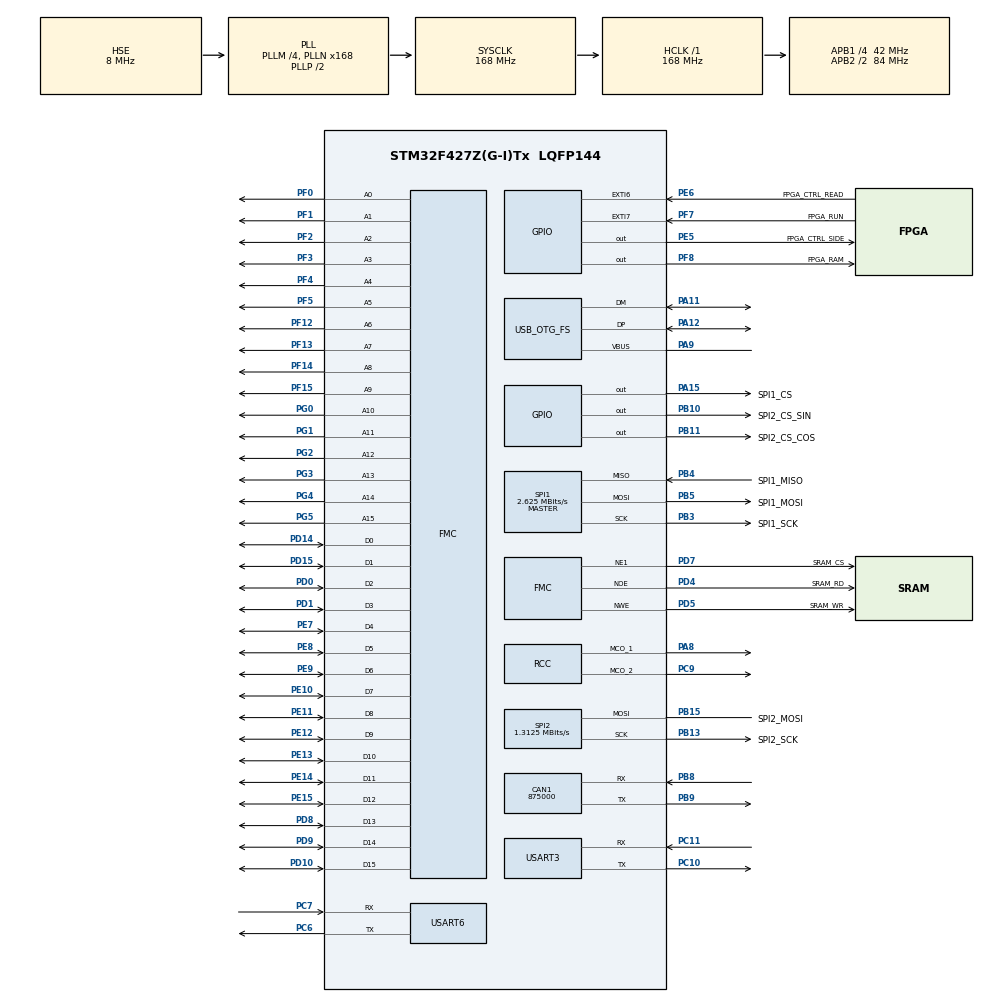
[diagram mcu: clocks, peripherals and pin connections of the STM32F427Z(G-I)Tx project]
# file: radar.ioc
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CAN1.CalculateBaudRate=875000
CAN1.CalculateTimeBit=1142
CAN1.CalculateTimeQuantum=380.95238095238096
FMC.AddressSetupTime1=2
FMC.BusTurnAroundDuration1=0
FMC.DataSetupTime1=8
FMC.ExtendedMode1=FMC_EXTENDED_MODE_DISABLE
FMC.WriteOperation1=FMC_WRITE_OPERATION_ENABLE
FREERTOS.Tasks01=defaultTask,24,128,StartDefaultTask,Default,NULL,Dynamic,NULL,NULL
Mcu.Family=STM32F4
Mcu.Name=STM32F427Z(G-I)Tx
Mcu.Package=LQFP144
NVIC.PriorityGroup=NVIC_PRIORITYGROUP_4
NVIC.TIM3_IRQn=true\:5\:0\:false\:false\:true\:true\:true\:true\:true
NVIC.TIM8_TRG_COM_TIM14_IRQn=true\:15\:0\:false\:false\:true\:false\:false\:true\:true
NVIC.TimeBase=TIM8_TRG_COM_TIM14_IRQn
NVIC.TimeBaseIP=TIM14
PA11.Mode=Device_Only
PA11.Signal=USB_OTG_FS_DM
PA12.Mode=Device_Only
PA12.Signal=USB_OTG_FS_DP
PA13.Mode=Serial_Wire
PA13.Signal=SYS_JTMS-SWDIO
PA14.Mode=Serial_Wire
PA14.Signal=SYS_JTCK-SWCLK
PA15.GPIO_Label=SPI1_CS
PA15.GPIO_Speed=GPIO_SPEED_FREQ_HIGH
PA15.Signal=GPIO_Output
PA8.Mode=Clock-out-1
PA8.Signal=RCC_MCO_1
PA9.Mode=Activate_VBUS
PA9.Signal=USB_OTG_FS_VBUS
PB10.GPIO_Label=SPI2_CS_SIN
PB10.GPIO_Speed=GPIO_SPEED_FREQ_HIGH
PB10.Signal=GPIO_Output
PB11.GPIO_Label=SPI2_CS_COS
PB11.GPIO_ModeDefaultOutputPP=GPIO_MODE_OUTPUT_PP
PB11.GPIO_PuPd=GPIO_PULLUP
PB11.GPIO_Speed=GPIO_SPEED_FREQ_HIGH
PB11.Signal=GPIO_Output
PB13.GPIO_Label=SPI2_SCK
PB13.Mode=Simplex_Bidirectional_Master
PB13.Signal=SPI2_SCK
PB15.GPIO_Label=SPI2_MOSI
PB15.Mode=Simplex_Bidirectional_Master
PB15.Signal=SPI2_MOSI
PB3.GPIO_Label=SPI1_SCK
PB3.Mode=Full_Duplex_Master
PB3.Signal=SPI1_SCK
PB4.GPIO_Label=SPI1_MISO
PB4.Mode=Full_Duplex_Master
PB4.Signal=SPI1_MISO
PB5.GPIO_Label=SPI1_MOSI
PB5.Mode=Full_Duplex_Master
PB5.Signal=SPI1_MOSI
PB8.Mode=CAN_Activate
PB8.Signal=CAN1_RX
PB9.Mode=CAN_Activate
PB9.Signal=CAN1_TX
PC10.Mode=Asynchronous
PC10.Signal=USART3_TX
PC11.Mode=Asynchronous
PC11.Signal=USART3_RX
PC6.Mode=Asynchronous
PC6.Signal=USART6_TX
PC7.Mode=Asynchronous
PC7.Signal=USART6_RX
PC9.Mode=Clock-out-2
PC9.Signal=RCC_MCO_2
PD0.Signal=FMC_D2_DA2
PD1.Signal=FMC_D3_DA3
PD10.Signal=FMC_D15_DA15
PD14.Signal=FMC_D0_DA0
PD15.Signal=FMC_D1_DA1
PD4.GPIO_Label=SRAM_RD
PD4.Signal=FMC_NOE
PD5.GPIO_Label=SRAM_WR
PD5.Signal=FMC_NWE
PD7.GPIO_Label=SRAM_CS
PD7.Mode=NorPsramChipSelect1_1
PD7.Signal=FMC_NE1
PD8.Signal=FMC_D13_DA13
PD9.Signal=FMC_D14_DA14
PE10.Signal=FMC_D7_DA7
PE11.Signal=FMC_D8_DA8
PE12.Signal=FMC_D9_DA9
PE13.Signal=FMC_D10_DA10
PE14.Signal=FMC_D11_DA11
PE15.Signal=FMC_D12_DA12
PE5.GPIO_Label=FPGA_CTRL_SIDE
PE5.GPIO_Speed=GPIO_SPEED_FREQ_HIGH
PE5.Signal=GPIO_Output
PE6.GPIO_Label=FPGA_CTRL_READ
PE6.Signal=GPXTI6
PE7.Signal=FMC_D4_DA4
PE8.Signal=FMC_D5_DA5
PE9.Signal=FMC_D6_DA6
PF0.Signal=FMC_A0
PF1.Signal=FMC_A1
PF12.Signal=FMC_A6
PF13.Signal=FMC_A7
PF14.Signal=FMC_A8
PF15.Signal=FMC_A9
PF2.Signal=FMC_A2
PF3.Signal=FMC_A3
PF4.Signal=FMC_A4
PF5.Signal=FMC_A5
PF7.GPIO_Label=FPGA_RUN
PF7.Signal=GPXTI7
PF8.GPIO_Label=FPGA_RAM
PF8.GPIO_Speed=GPIO_SPEED_FREQ_HIGH
PF8.Signal=GPIO_Output
PG0.Signal=FMC_A10
PG1.Signal=FMC_A11
PG2.Signal=FMC_A12
PG3.Signal=FMC_A13
PG4.Signal=FMC_A14_BA0
PG5.Signal=FMC_A15_BA1
PH0/OSC_IN.Mode=HSE-External-Oscillator
PH0/OSC_IN.Signal=RCC_OSC_IN
PH1/OSC_OUT.Mode=HSE-External-Oscillator
PH1/OSC_OUT.Signal=RCC_OSC_OUT
ProjectManager.HeapSize=0x200
ProjectManager.StackSize=0x400
ProjectManager.TargetToolchain=MDK-ARM V5.32
RCC.48MHZClocksFreq_Value=48000000
RCC.AHBFreq_Value=168000000
RCC.APB1CLKDivider=RCC_HCLK_DIV4
RCC.APB1Freq_Value=42000000
RCC.APB1TimFreq_Value=84000000
RCC.APB2CLKDivider=RCC_HCLK_DIV2
RCC.APB2Freq_Value=84000000
RCC.APB2TimFreq_Value=168000000
RCC.CortexFreq_Value=168000000
RCC.HCLKFreq_Value=168000000
RCC.HSE_VALUE=8000000
RCC.HSI_VALUE=16000000
RCC.LSE_VALUE=32768
RCC.PLLM=4
RCC.PLLN=168
RCC.PLLQ=7
RCC.RCC_MCODiv2=RCC_MCODIV_2
RCC.SYSCLKFreq_VALUE=168000000
RCC.SYSCLKSource=RCC_SYSCLKSOURCE_PLLCLK
RCC.VCOOutputFreq_Value=336000000
SH.FMC_A0.0=FMC_A0,16b-a1
SH.FMC_A1.0=FMC_A1,16b-a1
SH.FMC_A10.0=FMC_A10,16b-a1
SH.FMC_A11.0=FMC_A11,16b-a1
SH.FMC_A12.0=FMC_A12,16b-a1
SH.FMC_A13.0=FMC_A13,16b-a1
SH.FMC_A14_BA0.0=FMC_A14,16b-a1
SH.FMC_A15_BA1.0=FMC_A15,16b-a1
SH.FMC_A2.0=FMC_A2,16b-a1
SH.FMC_A3.0=FMC_A3,16b-a1
SH.FMC_A4.0=FMC_A4,16b-a1
SH.FMC_A5.0=FMC_A5,16b-a1
SH.FMC_A6.0=FMC_A6,16b-a1
SH.FMC_A7.0=FMC_A7,16b-a1
SH.FMC_A8.0=FMC_A8,16b-a1
SH.FMC_A9.0=FMC_A9,16b-a1
SH.FMC_D0_DA0.0=FMC_D0,16b-d1
SH.FMC_D10_DA10.0=FMC_D10,16b-d1
SH.FMC_D11_DA11.0=FMC_D11,16b-d1
SH.FMC_D12_DA12.0=FMC_D12,16b-d1
SH.FMC_D13_DA13.0=FMC_D13,16b-d1
SH.FMC_D14_DA14.0=FMC_D14,16b-d1
SH.FMC_D15_DA15.0=FMC_D15,16b-d1
SH.FMC_D1_DA1.0=FMC_D1,16b-d1
SH.FMC_D2_DA2.0=FMC_D2,16b-d1
SH.FMC_D3_DA3.0=FMC_D3,16b-d1
SH.FMC_D4_DA4.0=FMC_D4,16b-d1
SH.FMC_D5_DA5.0=FMC_D5,16b-d1
SH.FMC_D6_DA6.0=FMC_D6,16b-d1
SH.FMC_D7_DA7.0=FMC_D7,16b-d1
SH.FMC_D8_DA8.0=FMC_D8,16b-d1
SH.FMC_D9_DA9.0=FMC_D9,16b-d1
SH.FMC_NOE.0=FMC_NOE,Sram1
SH.FMC_NWE.0=FMC_NWE,Sram1
SPI1.BaudRatePrescaler=SPI_BAUDRATEPRESCALER_32
SPI1.CLKPhase=SPI_PHASE_2EDGE
SPI1.CLKPolarity=SPI_POLARITY_HIGH
SPI1.CalculateBaudRate=2.625 MBits/s
SPI1.Direction=SPI_DIRECTION_2LINES
SPI1.Mode=SPI_MODE_MASTER
SPI1.VirtualType=VM_MASTER
SPI2.BaudRatePrescaler=SPI_BAUDRATEPRESCALER_32
SPI2.CLKPhase=SPI_PHASE_2EDGE
SPI2.CLKPolarity=SPI_POLARITY_HIGH
SPI2.CalculateBaudRate=1.3125 MBits/s
SPI2.Direction=SPI_DIRECTION_1LINE
SPI2.Mode=SPI_MODE_MASTER
SPI2.VirtualType=VM_MASTER
TIM3.AutoReloadPreload=TIM_AUTORELOAD_PRELOAD_ENABLE
TIM3.Period=30000-1
TIM3.Prescaler=8400-1
USART3.VirtualMode=VM_ASYNC
USART6.VirtualMode=VM_ASYNC
USB_OTG_FS.VirtualMode=Device_Only
VP_FREERTOS_VS_CMSIS_V2.Mode=CMSIS_V2
VP_SYS_VS_tim14.Mode=TIM14
VP_TIM3_VS_ClockSourceINT.Mode=Internal
board=custom

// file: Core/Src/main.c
/* USER CODE BEGIN Header */
/**
  ******************************************************************************
  * @file           : main.c
  * @brief          : Main program body
  ******************************************************************************
  * @attention
  *
  * Copyright (c) 2025 STMicroelectronics.
  * All rights reserved.
  *
  * This software is licensed under terms that can be found in the LICENSE file
  * in the root directory of this software component.
  * If no LICENSE file comes with this software, it is provided AS-IS.
  *
  ******************************************************************************
  */
/* USER CODE END Header */
#include "main.h"
#include "cmsis_os.h"
#include "can.h"
#include "spi.h"
#include "tim.h"
#include "usart.h"
#include "usb_otg.h"
#include "gpio.h"
#include "fmc.h"

/* USER CODE BEGIN Includes */
#include "malloc.h"
#include "usbd_core.h"
#include "usbd_desc.h"
#include "usbd_cdc.h"
#include "usbd_cdc_interface.h"
/* USER CODE END Includes */

/* USER CODE BEGIN PD */
#define DBG_FPGA_USB    1
/* USER CODE END PD */

/* USER CODE BEGIN PV */
extern USBD_HandleTypeDef USBD_Device;  /* USB Device处理结构体 */
extern volatile uint8_t g_device_state; /* USB连接 情况 */

uint8_t ws_ds_flag; /* 0: DS, 1: WS */
extern uint8_t fpga_read_flag;
/* USER CODE END PV */

void SystemClock_Config(void);
void MX_FREERTOS_Init(void);

int main(void)
{

  /* USER CODE BEGIN 1 */
	uint32_t buf_len, data_num, ram_size = 0;
  uint16_t spi_ctrl = 0x00, disposal_cnt = 60000, read_cnt = 40000, spi_buf[8];
  uint16_t * p_data;

	uint32_t addr = 0;

  /* USER CODE END 1 */

  /* MCU Configuration--------------------------------------------------------*/

  /* Reset of all peripherals, Initializes the Flash interface and the Systick. */
  HAL_Init();

  /* Configure the system clock */
  SystemClock_Config();

  /* Initialize all configured peripherals */
  MX_GPIO_Init();
  MX_FMC_Init();
  MX_SPI1_Init();
  MX_SPI2_Init();
  MX_CAN1_Init();
  MX_USART3_UART_Init();
  MX_USART6_UART_Init();
  MX_USB_OTG_FS_PCD_Init();
  MX_TIM3_Init();
  /* USER CODE BEGIN 2 */
    /* USB初始化 */
    USBD_Init(&USBD_Device, &VCP_Desc, 0);                    /* 初始化USB */
    USBD_RegisterClass(&USBD_Device, USBD_CDC_CLASS);         /* 添加类 */
    USBD_CDC_RegisterInterface(&USBD_Device, &USBD_CDC_fops); /* 为MSC类添加回调函数 */
    USBD_Start(&USBD_Device);                                 /* 开启USB */
  /* USER CODE END 2 */

  /* Init scheduler */
  osKernelInitialize();

  /* Call init function for freertos objects (in cmsis_os2.c) */
  MX_FREERTOS_Init();

  /* Start scheduler */
  osKernelStart();

  /* We should never get here as control is now taken by the scheduler */

  /* Infinite loop */
  while (1)
  {

  }
}

void SystemClock_Config(void)
{
  RCC_OscInitTypeDef RCC_OscInitStruct = {0};
  RCC_ClkInitTypeDef RCC_ClkInitStruct = {0};

  /** Configure the main internal regulator output voltage
  */
  __HAL_RCC_PWR_CLK_ENABLE();
  __HAL_PWR_VOLTAGESCALING_CONFIG(PWR_REGULATOR_VOLTAGE_SCALE1);

  /** Initializes the RCC Oscillators according to the specified parameters
  * in the RCC_OscInitTypeDef structure.
  */
  RCC_OscInitStruct.OscillatorType = RCC_OSCILLATORTYPE_HSI|RCC_OSCILLATORTYPE_HSE;
  RCC_OscInitStruct.HSEState = RCC_HSE_ON;
  RCC_OscInitStruct.HSIState = RCC_HSI_ON;
  RCC_OscInitStruct.HSICalibrationValue = RCC_HSICALIBRATION_DEFAULT;
  RCC_OscInitStruct.PLL.PLLState = RCC_PLL_ON;
  RCC_OscInitStruct.PLL.PLLSource = RCC_PLLSOURCE_HSE;
  RCC_OscInitStruct.PLL.PLLM = 4;
  RCC_OscInitStruct.PLL.PLLN = 168;
  RCC_OscInitStruct.PLL.PLLP = RCC_PLLP_DIV2;
  RCC_OscInitStruct.PLL.PLLQ = 7;
  if (HAL_RCC_OscConfig(&RCC_OscInitStruct) != HAL_OK)
  {
    Error_Handler();
  }

  /** Initializes the CPU, AHB and APB buses clocks
  */
  RCC_ClkInitStruct.ClockType = RCC_CLOCKTYPE_HCLK|RCC_CLOCKTYPE_SYSCLK
                              |RCC_CLOCKTYPE_PCLK1|RCC_CLOCKTYPE_PCLK2;
  RCC_ClkInitStruct.SYSCLKSource = RCC_SYSCLKSOURCE_PLLCLK;
  RCC_ClkInitStruct.AHBCLKDivider = RCC_SYSCLK_DIV1;
  RCC_ClkInitStruct.APB1CLKDivider = RCC_HCLK_DIV4;
  RCC_ClkInitStruct.APB2CLKDivider = RCC_HCLK_DIV2;

  if (HAL_RCC_ClockConfig(&RCC_ClkInitStruct, FLASH_LATENCY_5) != HAL_OK)
  {
    Error_Handler();
  }
  HAL_RCC_MCOConfig(RCC_MCO1, RCC_MCO1SOURCE_HSI, RCC_MCODIV_1);
  HAL_RCC_MCOConfig(RCC_MCO2, RCC_MCO2SOURCE_SYSCLK, RCC_MCODIV_2);
}

void HAL_TIM_PeriodElapsedCallback(TIM_HandleTypeDef *htim)
{
  if (htim->Instance == TIM14) {
    HAL_IncTick();
  }
}

void Error_Handler(void)
{
  __disable_irq();
  while (1)
  {
  }
}
